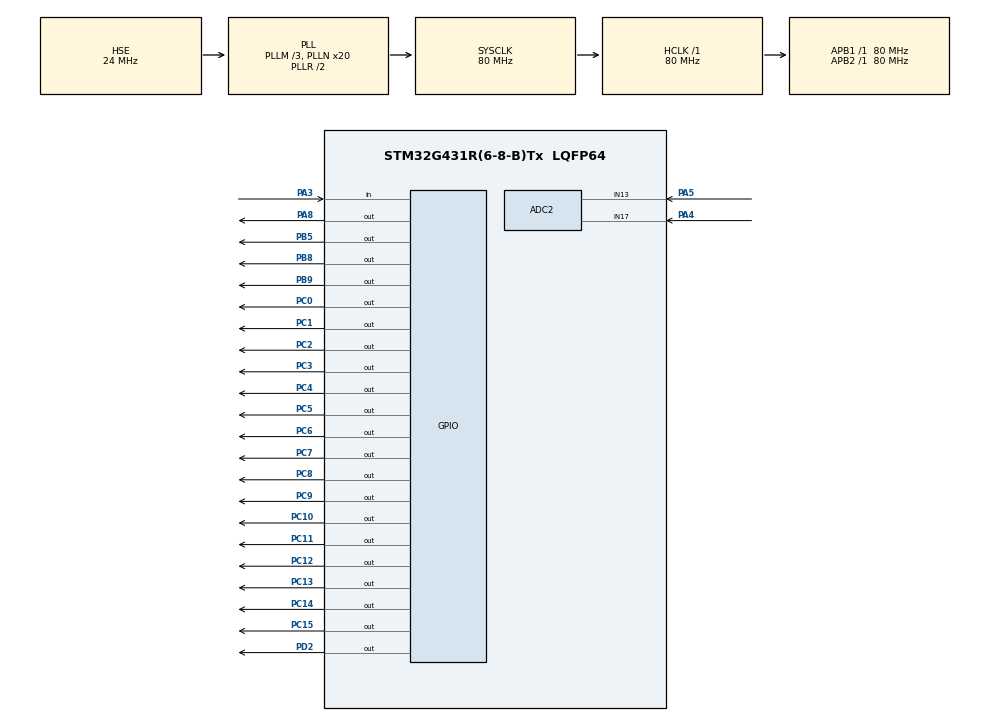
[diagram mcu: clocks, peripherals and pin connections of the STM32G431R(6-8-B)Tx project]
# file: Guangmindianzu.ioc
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ADC2.Channel-0\#ChannelRegularConversion=ADC_CHANNEL_17
ADC2.Channel-1\#ChannelRegularConversion=ADC_CHANNEL_13
ADC2.NbrOfConversion=2
ADC2.NbrOfConversionFlag=1
ADC2.OffsetNumber-0\#ChannelRegularConversion=ADC_OFFSET_NONE
ADC2.OffsetNumber-1\#ChannelRegularConversion=ADC_OFFSET_NONE
ADC2.Rank-0\#ChannelRegularConversion=1
ADC2.Rank-1\#ChannelRegularConversion=2
ADC2.SamplingTime-0\#ChannelRegularConversion=ADC_SAMPLETIME_640CYCLES_5
ADC2.SamplingTime-1\#ChannelRegularConversion=ADC_SAMPLETIME_640CYCLES_5
Mcu.Family=STM32G4
Mcu.Name=STM32G431R(6-8-B)Tx
Mcu.Package=LQFP64
NVIC.PriorityGroup=NVIC_PRIORITYGROUP_4
PA13.Mode=Serial_Wire
PA13.Signal=SYS_JTMS-SWDIO
PA14.Mode=Serial_Wire
PA14.Signal=SYS_JTCK-SWCLK
PA3.Signal=GPIO_Input
PA4.Mode=IN17-Single-Ended
PA4.Signal=ADC2_IN17
PA5.Mode=IN13-Single-Ended
PA5.Signal=ADC2_IN13
PA8.Signal=GPIO_Output
PB5.Signal=GPIO_Output
PB8-BOOT0.Signal=GPIO_Output
PB9.Signal=GPIO_Output
PC0.Signal=GPIO_Output
PC1.Signal=GPIO_Output
PC10.PinState=GPIO_PIN_SET
PC10.Signal=GPIO_Output
PC11.PinState=GPIO_PIN_SET
PC11.Signal=GPIO_Output
PC12.PinState=GPIO_PIN_SET
PC12.Signal=GPIO_Output
PC13.PinState=GPIO_PIN_SET
PC13.Signal=GPIO_Output
PC14-OSC32_IN.PinState=GPIO_PIN_SET
PC14-OSC32_IN.Signal=GPIO_Output
PC15-OSC32_OUT.PinState=GPIO_PIN_SET
PC15-OSC32_OUT.Signal=GPIO_Output
PC2.Signal=GPIO_Output
PC3.Signal=GPIO_Output
PC4.Signal=GPIO_Output
PC5.Signal=GPIO_Output
PC6.Signal=GPIO_Output
PC7.Signal=GPIO_Output
PC8.PinState=GPIO_PIN_SET
PC8.Signal=GPIO_Output
PC9.PinState=GPIO_PIN_SET
PC9.Signal=GPIO_Output
PD2.Signal=GPIO_Output
PF0-OSC_IN.Mode=HSE-External-Oscillator
PF0-OSC_IN.Signal=RCC_OSC_IN
PF1-OSC_OUT.Mode=HSE-External-Oscillator
PF1-OSC_OUT.Signal=RCC_OSC_OUT
ProjectManager.HeapSize=0x200
ProjectManager.StackSize=0x400
ProjectManager.TargetToolchain=MDK-ARM V5.32
RCC.ADC12Freq_Value=80000000
RCC.AHBFreq_Value=80000000
RCC.APB1Freq_Value=80000000
RCC.APB1TimFreq_Value=80000000
RCC.APB2Freq_Value=80000000
RCC.APB2TimFreq_Value=80000000
RCC.CortexFreq_Value=80000000
RCC.EXTERNAL_CLOCK_VALUE=12288000
RCC.HCLKFreq_Value=80000000
RCC.HSE_VALUE=24000000
RCC.HSI48_VALUE=48000000
RCC.HSI_VALUE=16000000
RCC.LSE_VALUE=32768
RCC.PLLM=RCC_PLLM_DIV3
RCC.PLLN=20
RCC.PLLSourceVirtual=RCC_PLLSOURCE_HSE
RCC.SYSCLKFreq_VALUE=80000000
RCC.SYSCLKSource=RCC_SYSCLKSOURCE_PLLCLK
RCC.USBFreq_Value=80000000
RCC.VCOOutputFreq_Value=160000000
VP_SYS_VS_DBSignals.Mode=DisableDeadBatterySignals
board=custom

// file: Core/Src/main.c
/* USER CODE BEGIN Header */
/**
  ******************************************************************************
  * @file           : main.c
  * @brief          : Main program body
  ******************************************************************************
  * @attention
  *
  * Copyright (c) 2024 STMicroelectronics.
  * All rights reserved.
  *
  * This software is licensed under terms that can be found in the LICENSE file
  * in the root directory of this software component.
  * If no LICENSE file comes with this software, it is provided AS-IS.
  *
  ******************************************************************************
  */
/* USER CODE END Header */
#include "main.h"
#include "adc.h"
#include "gpio.h"

/* USER CODE BEGIN Includes */

#include "lcd.h"
#include "led.h"
#include "dadc.h"
#include "stdio.h"
#include "string.h"

/* USER CODE END Includes */

/* USER CODE BEGIN PTD */

unsigned char ucled=0x00;

unsigned char lcd_text[30];

__IO uint32_t uwTick_Lcd;
__IO uint32_t uwTick_Adc;

double adc2_in17_AO1;
double adc2_in13_AO2;

//下面两个是光敏电阻的参数
double trao;//光敏电阻电压值
unsigned char trdo;//PA3(TRDO是数字输出口)接收的电平只有0V和3.3V,比较光敏电阻电压和可调变阻器的电压之后的输出值

/* USER CODE END PTD */

void SystemClock_Config(void);
/* USER CODE BEGIN PFP */
void lcd_proc(void);
void adc_proc(void);

/* USER CODE END PFP */

int main(void)
{

  /* MCU Configuration--------------------------------------------------------*/

  /* Reset of all peripherals, Initializes the Flash interface and the Systick. */
  HAL_Init();

  /* Configure the system clock */
  SystemClock_Config();

  /* Initialize all configured peripherals */
  MX_GPIO_Init();
  MX_ADC2_Init();
  /* USER CODE BEGIN 2 */

    LCD_Init();
    LCD_Clear(Black);
    LCD_SetBackColor(Black);
    LCD_SetTextColor(White);

    led_disp(ucled);

  /* USER CODE END 2 */

  /* Infinite loop */
  while (1)
  {

    /* USER CODE BEGIN 3 */
//     adc2_in17_AO1=getADC(&hadc2);
//    //HAL_Delay(2);
//    adc2_in13_AO2=getADC(&hadc2);
      adc_proc();
      lcd_proc();
  }
  /* USER CODE END 3 */
}

void SystemClock_Config(void)
{
  RCC_OscInitTypeDef RCC_OscInitStruct = {0};
  RCC_ClkInitTypeDef RCC_ClkInitStruct = {0};

  /** Configure the main internal regulator output voltage
  */
  HAL_PWREx_ControlVoltageScaling(PWR_REGULATOR_VOLTAGE_SCALE1);

  /** Initializes the RCC Oscillators according to the specified parameters
  * in the RCC_OscInitTypeDef structure.
  */
  RCC_OscInitStruct.OscillatorType = RCC_OSCILLATORTYPE_HSE;
  RCC_OscInitStruct.HSEState = RCC_HSE_ON;
  RCC_OscInitStruct.PLL.PLLState = RCC_PLL_ON;
  RCC_OscInitStruct.PLL.PLLSource = RCC_PLLSOURCE_HSE;
  RCC_OscInitStruct.PLL.PLLM = RCC_PLLM_DIV3;
  RCC_OscInitStruct.PLL.PLLN = 20;
  RCC_OscInitStruct.PLL.PLLP = RCC_PLLP_DIV2;
  RCC_OscInitStruct.PLL.PLLQ = RCC_PLLQ_DIV2;
  RCC_OscInitStruct.PLL.PLLR = RCC_PLLR_DIV2;
  if (HAL_RCC_OscConfig(&RCC_OscInitStruct) != HAL_OK)
  {
    Error_Handler();
  }

  /** Initializes the CPU, AHB and APB buses clocks
  */
  RCC_ClkInitStruct.ClockType = RCC_CLOCKTYPE_HCLK|RCC_CLOCKTYPE_SYSCLK
                              |RCC_CLOCKTYPE_PCLK1|RCC_CLOCKTYPE_PCLK2;
  RCC_ClkInitStruct.SYSCLKSource = RCC_SYSCLKSOURCE_PLLCLK;
  RCC_ClkInitStruct.AHBCLKDivider = RCC_SYSCLK_DIV1;
  RCC_ClkInitStruct.APB1CLKDivider = RCC_HCLK_DIV1;
  RCC_ClkInitStruct.APB2CLKDivider = RCC_HCLK_DIV1;

  if (HAL_RCC_ClockConfig(&RCC_ClkInitStruct, FLASH_LATENCY_2) != HAL_OK)
  {
    Error_Handler();
  }
}

/* USER CODE BEGIN 4 */

void adc_proc(void)
{
    if((uwTick-uwTick_Adc)<100)return;
    uwTick_Adc=uwTick;

        trao=adc2_in17_AO1;

    trdo=HAL_GPIO_ReadPin(GPIOA,GPIO_PIN_3);

    //读取RANK1的电压
    adc2_in17_AO1=getADC(&hadc2);
    //读取RANK2的电压
    adc2_in13_AO2=getADC(&hadc2);

}

void lcd_proc(void)
{
    if((uwTick-uwTick_Lcd)<100)return;
    uwTick_Lcd=uwTick;

//    Get_Adc(&hadc2);

    memset(lcd_text,0,sizeof(lcd_text));
    sprintf((char *)lcd_text,"in17:%0.2fV in13:%0.2fV",adc2_in17_AO1,adc2_in13_AO2);
    LCD_DisplayStringLine(Line2,lcd_text);

    memset(lcd_text,0,sizeof(lcd_text));
    sprintf((char *)lcd_text,"trao:%0.2fV trdo:%d",trao,trdo);
    LCD_DisplayStringLine(Line6,lcd_text);
}

/* USER CODE END 4 */

void Error_Handler(void)
{
  __disable_irq();
  while (1)
  {
  }
}
